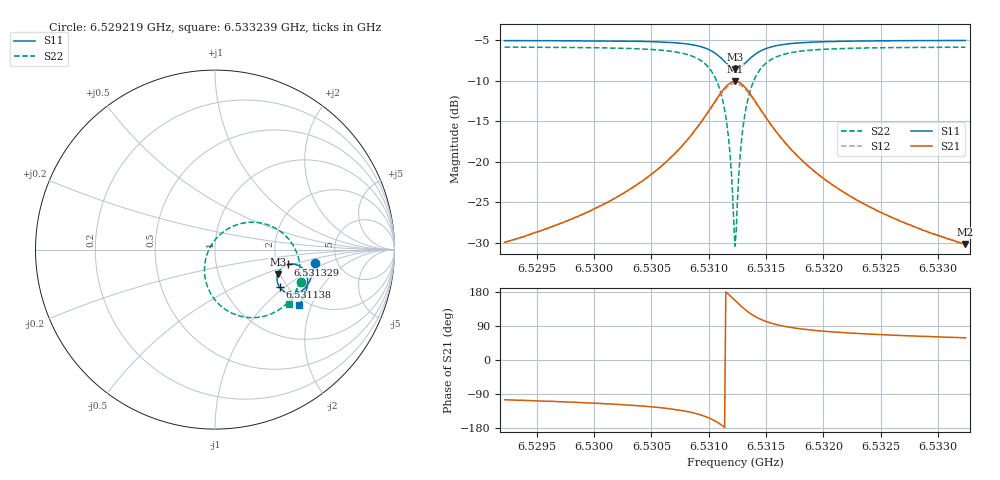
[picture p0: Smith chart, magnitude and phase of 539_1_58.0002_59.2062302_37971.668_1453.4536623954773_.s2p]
#  HZ  S  RI  R  50.00
! Rohde & Schwarz Vector Network Analyzer
! Rohde-Schwarz,ZNB20-2Port,1311601062101988,3.16
! Created: UTC 3/21/2024, 1:14:25 AM
! freq[Hz]  re:S11  im:S11  re:S21  im:S21  re:S12  im:S12  re:S22  im:S22
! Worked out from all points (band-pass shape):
!   401 points, 6.529219 GHz to 6.533239 GHz, reference 50 ohm
!   highest |S21| = -10.06 dB at 6.531229 GHz (marker M1); lowest = -30.2 dB at 6.533239 GHz (marker M2)
!   |S21| within 3 dB of the highest: 6.53103 GHz to 6.531431 GHz (401.5 kHz wide, 0.00615 % of centre)
!   lowest |S11| = -8.5 dB at 6.531229 GHz (marker M3), VSWR 2.20, Z = 97.1 - j31.2 ohm
!   |S11| at or under -10 dB: nowhere
!   |S22| runs from -30.4 to -5.8 dB; largest |S21 - S12| = 0.012
!   S11 on the Smith chart (normalised r, x): 6.529219 GHz: 3.38, -0.74; 6.531138 GHz: 1.82, -0.93; 6.531329 GHz: 2.31, -0.46; 6.533239 GHz: 1.82, -1.64
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6.5292186e9  0.5558 -0.0747  -0.00819 -0.0308  -0.00885 -0.0307  0.4786 -0.1801
6.5298921e9  0.5442 -0.1308  -0.018 -0.0436  -0.019 -0.0433  0.4466 -0.2424
6.530274e9  0.5316 -0.1663  -0.0311 -0.0573  -0.0325 -0.0566  0.4124 -0.287
6.5305655e9  0.5142 -0.1981  -0.0529 -0.0745  -0.0551 -0.073  0.3629 -0.3305
6.5307967e9  0.4862 -0.2274  -0.0938 -0.0938  -0.0966 -0.0906  0.2806 -0.3693
6.5309675e9  0.4413 -0.2456  -0.1635 -0.0991  -0.1656 -0.0924  0.1526 -0.3737
6.531068e9  0.3955 -0.239  -0.2339 -0.0709  -0.2328 -0.0613  0.0341 -0.3153
6.5311384e9  0.3605 -0.21  -0.2855 -0.0107  -0.2792 -0.000504  -0.0424 -0.2052
6.5311786e9  0.3475 -0.181  -0.301 0.0437  -0.2915 0.0517  -0.0589 -0.1127
6.5312188e9  0.3473 -0.1467  -0.2953 0.1055  -0.284 0.1098  -0.0391 -0.0126
6.5312289e9  0.3493 -0.138  -0.29 0.1207  -0.2787 0.124  -0.028 0.0113
6.5312389e9  0.3526 -0.1297  -0.2831 0.1352  -0.2718 0.1375  -0.0146 0.0338
6.531249e9  0.3565 -0.1218  -0.2751 0.1489  -0.2639 0.1501  0.00106 0.0552
6.5312691e9  0.3666 -0.1076  -0.2552 0.1735  -0.2447 0.1728  0.0373 0.0915
6.5312892e9  0.3792 -0.0962  -0.2319 0.1929  -0.2227 0.1909  0.0784 0.1195
6.5313294e9  0.4073 -0.0829  -0.1815 0.2159  -0.1747 0.2123  0.1651 0.1495
6.5313997e9  0.4516 -0.0834  -0.1039 0.2168  -0.1007 0.2134  0.2949 0.1379
6.5315002e9  0.4899 -0.1068  -0.0382 0.1838  -0.0366 0.1819  0.4019 0.0681
6.531651e9  0.5115 -0.1439  0.00123 0.1355  0.00242 0.1346  0.4599 -0.0294
6.5319023e9  0.516 -0.1878  0.0174 0.0882  0.0184 0.0877  0.4739 -0.1283
6.5325757e9  0.4969 -0.2583  0.0186 0.0422  0.0195 0.0419  0.4449 -0.2449
6.5332391e9  0.4706 -0.308  0.0162 0.0265  0.0166 0.0261  0.4104 -0.3043
